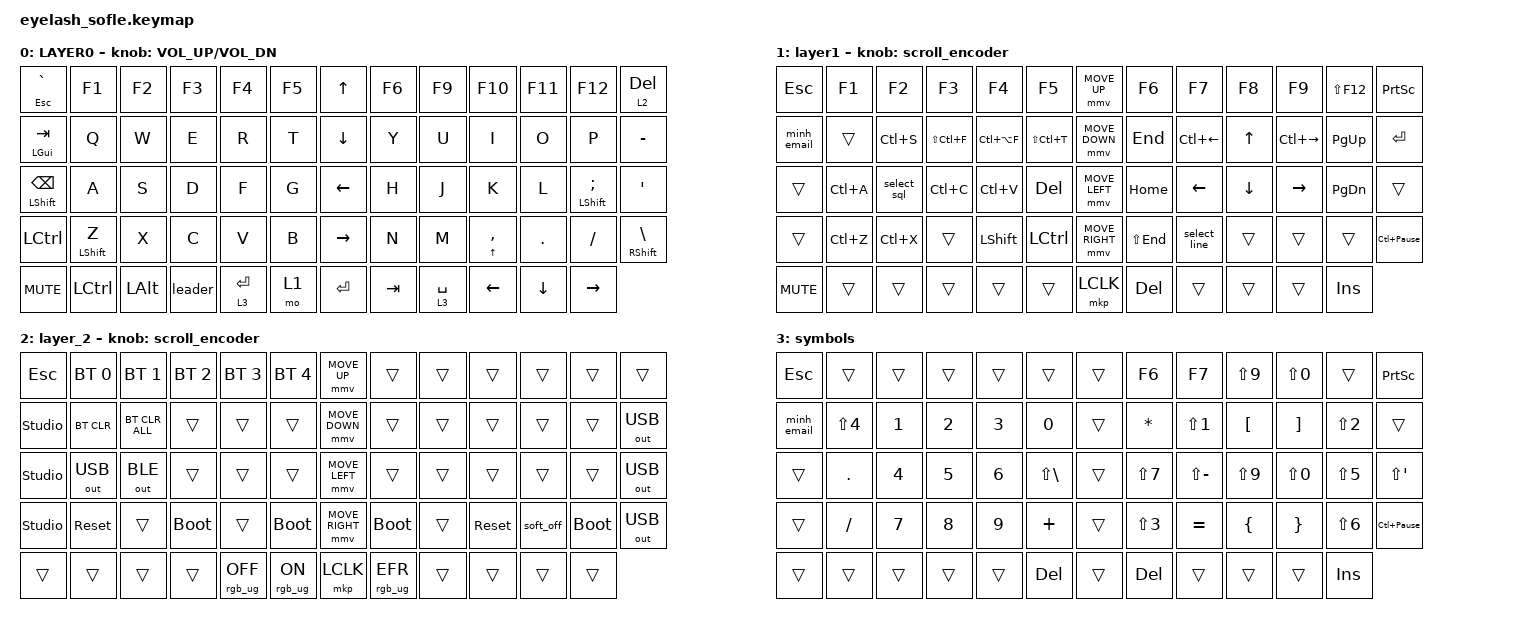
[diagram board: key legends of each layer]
#define ZMK_POINTING_DEFAULT_MOVE_VAL 1200  // 600
#define ZMK_POINTING_DEFAULT_SCRL_VAL 25   // 10

#include <input/processors.dtsi>
#include <zephyr/dt-bindings/input/input-event-codes.h>
#include <behaviors.dtsi>
#include <dt-bindings/zmk/bt.h>
#include <dt-bindings/zmk/ext_power.h>
#include <dt-bindings/zmk/keys.h>
#include <dt-bindings/zmk/pointing.h>
#include <dt-bindings/zmk/rgb.h>
#include <dt-bindings/zmk/outputs.h>
#include "leader.dtsi"
#include "helpers.h"

// &lt {
//     flavor = "hold-preferred";
// };

&mt {
    quick-tap-ms = <245>;
};

/ {
    shortcuts { 

        MACRO(select_line, &macro_tap &kp HOME &kp LS(END))
    
        myThTap: mod-tap-with-tap-preferred {
            compatible = "zmk,behavior-hold-tap";
            #binding-cells = <2>;
            tapping-term-ms = <TAPPING_TERM>;
            flavor = "tap-preferred";
            quick-tap-ms = <QUICK_TAP_TERM>;
            bindings = <&kp>, <&kp>;
        };

        myLtHold: layer-tap-with-hold-preferred {
            compatible = "zmk,behavior-hold-tap";
            #binding-cells = <2>;
            tapping-term-ms = <TAPPING_TERM>;
            flavor = "hold-preferred";
            quick-tap-ms = <QUICK_TAP_TERM>;
            bindings = <&mo>, <&kp>;
        };        
   };
};

&mmv_input_listener { input-processors = <&zip_xy_scaler 2 1>; };

&msc_input_listener { input-processors = <&zip_scroll_scaler 2 1>; };

&msc {
    acceleration-exponent = <1>;      // 0
    time-to-max-speed-ms = <100>;       // 300
    delay-ms = <0>;                   // 0
};

&mmv {
    time-to-max-speed-ms = <500>;
    acceleration-exponent = <1>;
    trigger-period-ms = <16>;
};

/ {
    combos {
        compatible = "zmk,combos";
        combo_copy {
            timeout-ms = <50>;
            key-positions = <28 29>; // S and D
            bindings = <&kp LC(C)>; // Sends Ctrl+S

        };
        combo_paste {
            timeout-ms = <50>;
            key-positions = <29 30>; // D and F
            bindings = <&kp LC(V)>; // Sends Ctrl+V
        };
        combo_undo {
            key-positions = <40 41>; // Z + X
            bindings = <&kp LC(Z)>;
        };

        combo_cut {
            key-positions = <41 42>; // X + C
            bindings = <&kp LC(X)>;
        };

        combo_save {
            key-positions = <42 43>; // C + V
            bindings = <&kp LC(S)>;
        };

        combo_select_all {
            key-positions = <14 15>; // Q + W
            bindings = <&kp LC(A)>;
        };

        combo_select_line {
            key-positions = <30 31>; // F + G
            bindings = <&select_line>;
        };

        combo_select_word {
            key-positions = <43 44>; // V + B
            bindings = <&select_word>;
        };

        combo_find2 {
            key-positions = <28 30>; // S + F
            bindings = <&kp LC(F)>;
            layers = <0>;
        };

        combo_delete_toEnd {
            key-positions = <29 31>; // D + G
            bindings = <&macro_deleteToEnd>;
            layers = <0>;
        };
        combo_replace {
            key-positions = <33 34>; // J + H
            bindings = <&kp LC(H)>;
            layers = <0>;
        };

        combo_find {
            key-positions = <34 35>; // J + K
            bindings = <&kp LC(F)>;
            layers = <0>;
        };

        combo_switch_tab {
            key-positions = <34 36>; // J + L
            bindings = <&kp LC(TAB)>;
            layers = <0>;
        };

        combo_ctrl_shift_space {
            key-positions = <35 36>; // K + L
            bindings = <&kp LC(LS(SPACE))>;
            layers = <0>;
        };

        // combo_altTab {
        //     key-positions = <47 49>; // M + .
        //     bindings = <&kp LA(TAB)>;
        //     layers = <0>;
        // };

        combo_home {
            key-positions = <41 43>; // X + V
            bindings = <&kp HOME>;
            layers = <0>;
        };
        
        combo_arrow_right {
            key-positions = <47 49>; // M + .
            bindings = <&macro_arrow_right>;
            layers = <0>;
        };

        combo_arrow_left {
            key-positions = <47 48>; // M + ,
            bindings = <&macro_arrow_left>;
            layers = <0>;
        };

        // combo_window_1 {
        //     key-positions = <30 17>; // F + R
        //     bindings = <&kp LG(N1)>;
        //     layers = <0>;
        // };
        // combo_window_2 {
        //     key-positions = <31 18>; // G + T
        //     bindings = <&kp LG(N2)>;
        //     layers = <0>;
        // };
        // combo_window_3 {
        //     key-positions = <33 20>; // H + Y
        //     bindings = <&kp LG(N3)>;
        //     layers = <0>;
        // }; 
        // combo_window_4 {
        //     key-positions = <34 21>; // U + J 
        //     bindings = <&kp LG(N4)>;
        //     layers = <0>;
        // };                
    };
};

/ {
    macros {
        select_word: select_word {
            compatible = "zmk,behavior-macro";
            #binding-cells = <0>;
            wait-ms = <0>;
            tap-ms = <5>;
            bindings = <&kp LC(RIGHT_ARROW)>, <&kp LC(LS(LEFT_ARROW))>;
        };
        macro_deleteToEnd: macro_deleteToEnd {
            compatible = "zmk,behavior-macro";
            #binding-cells = <0>;
            wait-ms = <0>;
            tap-ms = <5>;
            bindings = <&kp LS(END)>, <&kp DELETE>;
        };
        minh_email: minh_email {
            compatible = "zmk,behavior-macro";
            #binding-cells = <0>;
            wait-ms = <5>;
            tap-ms = <5>;
            bindings = 
                <&kp M &kp I &kp N &kp H &kp N &kp G &kp U &kp Y &kp E &kp N>
                , <&kp AT>
                , <&kp S &kp I &kp M &kp P &kp O &kp L &kp O &kp G &kp Y>
                , <&kp DOT>
                , <&kp C &kp O &kp M>
                , <&kp DOT>
                , <&kp A &kp U>
            ;
        };
        select_sql: select_sql {
            compatible = "zmk,behavior-macro";
            #binding-cells = <0>;
            wait-ms = <0>;
            tap-ms = <5>;
            bindings = 
                <&kp LS(S) &kp E &kp L &kp E &kp C &kp T>
                , <&kp SPACE>
                , <&kp T &kp O &kp P>
                , <&kp SPACE>
                , <&kp N2 &kp N0 &kp N0>
                , <&kp SPACE>
                , <&kp STAR>
                , <&kp SPACE>
                , <&kp LS(F) &kp R &kp O &kp M>
                , <&kp SPACE>
            ;
        };  
        macro_arrow_right: macro_arrow_right {
            compatible = "zmk,behavior-macro";
            #binding-cells = <0>;
            wait-ms = <0>;
            tap-ms = <5>;            
            bindings = <&kp EQUAL>, <&kp LS(DOT) &kp SPACE>;
        };
        macro_arrow_left: macro_arrow_left {
            compatible = "zmk,behavior-macro";
            #binding-cells = <0>;
            wait-ms = <0>;
            tap-ms = <5>;            
            bindings = <&kp LS(COMMA)>, <&kp EQUAL &kp SPACE>;
        };
        macro_channelId: macro_channelId {
            compatible = "zmk,behavior-macro";
            #binding-cells = <0>;
            wait-ms = <0>;
            tap-ms = <1>;
            bindings = <&kp LS(C) &kp H &kp A &kp N &kp N &kp E &kp L &kp LS(I) &kp D &kp SPACE>;
        };
        macro_applicationId: macro_applicationId {
            compatible = "zmk,behavior-macro";
            #binding-cells = <0>;
            wait-ms = <0>;
            tap-ms = <1>;
            bindings = <&kp LS(A) &kp P &kp P &kp L &kp I &kp C &kp A &kp T &kp I &kp O &kp N>;
        };
        macro_TAMA5: macro_TAMA5 {
            compatible = "zmk,behavior-macro";
            #binding-cells = <0>;
            wait-ms = <0>;
            tap-ms = <1>;
            bindings = <&kp LBKT &kp LS(T) &kp LS(A) &kp LS(M) &kp LS(A) &kp N5 &kp MINUS &kp RBKT &kp LEFT_ARROW>;
        };
        macro_patch: macro_patch {
            compatible = "zmk,behavior-macro";
            #binding-cells = <0>;
            wait-ms = <0>;
            tap-ms = <1>;
            bindings = <&kp LBKT &kp P &kp A &kp T &kp C &kp H &kp RBKT>;
        };
        macro_minor: macro_minor {
            compatible = "zmk,behavior-macro";
            #binding-cells = <0>;
            wait-ms = <0>;
            tap-ms = <1>;
            bindings = <&kp LBKT &kp M &kp I &kp N &kp O &kp R &kp RBKT>;
        };
        macro_foreach: macro_foreach {
            compatible = "zmk,behavior-macro";
            #binding-cells = <0>;
            wait-ms = <0>;
            tap-ms = <1>;
            bindings =
                <&kp F &kp O &kp R &kp E &kp A &kp C &kp H>
                , <&kp SPACE>
                , <&kp LS(N9) &kp V &kp A &kp R &kp SPACE &kp R &kp E &kp C &kp O &kp R  &kp D>
                , <&kp SPACE &kp I &kp N &kp SPACE &kp O &kp B &kp J &kp S &kp LS(N0)>
                , <&kp SPACE>
                , <&kp LBRC &kp RBRC &kp LEFT_ARROW>
            ;
        };
        macro_if_block: macro_if_block {
            compatible = "zmk,behavior-macro";
            #binding-cells = <0>;
            wait-ms = <0>;
            tap-ms = <1>;
            bindings =
                <&kp I &kp F>
                , <&kp SPACE>
                , <&kp LS(N9) &kp LS(N0)>
                , <&kp SPACE>
                , <&kp LBRC>
                , <&kp ENTER>
                , <&kp ENTER>
                , <&kp RBRC &kp UP_ARROW &kp UP_ARROW &kp HOME &kp RIGHT_ARROW &kp RIGHT_ARROW &kp RIGHT_ARROW &kp RIGHT_ARROW>
            ;
        };        
        macro_nolock: macro_nolock {
            compatible = "zmk,behavior-macro";
            #binding-cells = <0>;
            wait-ms = <0>;
            tap-ms = <1>;
            bindings = <&kp LS(N9) &kp N &kp O &kp L &kp O &kp C &kp K &kp LS(N0) &kp SPACE>;
        };
        macro_string: macro_string {
            compatible = "zmk,behavior-macro";
            #binding-cells = <0>;
            wait-ms = <0>;
            tap-ms = <1>;
            bindings = <&kp S &kp T &kp R &kp I &kp N &kp G &kp SPACE>;
        };        
        macro_where: macro_where {
            compatible = "zmk,behavior-macro";
            #binding-cells = <0>;
            wait-ms = <0>;
            tap-ms = <1>;
            bindings = <&kp LS(W) &kp LS(H) &kp LS(E) &kp LS(R) &kp LS(E) &kp SPACE>;
        };
        macro_bugfix: macro_bugfix {
            compatible = "zmk,behavior-macro";
            #binding-cells = <0>;
            wait-ms = <0>;
            tap-ms = <1>;
            bindings = <&kp B &kp U &kp G &kp F &kp I &kp X>;
        };
        macro_public: macro_public {
            compatible = "zmk,behavior-macro";
            #binding-cells = <0>;
            wait-ms = <0>;
            tap-ms = <1>;
            bindings = <&kp P &kp U &kp B &kp L &kp I &kp C &kp SPACE>;
        };
        macro_private: macro_private {
            compatible = "zmk,behavior-macro";
            #binding-cells = <0>;
            wait-ms = <0>;
            tap-ms = <1>;
            bindings = <&kp P &kp R &kp I &kp V &kp A &kp T &kp E &kp SPACE>;
        };
        macro_feature: macro_feature {
            compatible = "zmk,behavior-macro";
            #binding-cells = <0>;
            wait-ms = <0>;
            tap-ms = <1>;
            bindings = <&kp F &kp E &kp A &kp T &kp U &kp R &kp E>;
        };
        macro_var: macro_var {
            compatible = "zmk,behavior-macro";
            #binding-cells = <0>;
            wait-ms = <0>;
            tap-ms = <1>;
            bindings = <&kp V &kp A &kp R &kp SPACE &kp SPACE &kp EQUAL &kp SPACE &kp SEMI &kp LEFT_ARROW &kp LEFT_ARROW &kp LEFT_ARROW &kp LEFT_ARROW>;
        };
        macro_phone: macro_phone {
            compatible = "zmk,behavior-macro";
            #binding-cells = <0>;
            wait-ms = <0>;
            tap-ms = <1>;
            bindings = <&kp N0 &kp N4 &kp N0 &kp N0 &kp N0 &kp N0 &kp N0 &kp N0 &kp N0 &kp N0>;
        };
    };

    scroll_encoder: scroll_encoder {
        compatible = "zmk,behavior-sensor-rotate";
        #sensor-binding-cells = <0>;
        bindings = <&msc SCRL_DOWN>, <&msc SCRL_UP>;
        tap-ms = <100>;
    };
    keymap {
        compatible = "zmk,keymap";

        layer0 {
            bindings = <
&mt ESC GRAVE           &kp F1     &kp F2        &kp F3        &kp F4  &kp F5       &kp UP_ARROW            &kp F6     &kp F9               &kp F10                     &kp F11         &kp F12     &lt 2 DELETE
&mt LEFT_GUI TAB        &kp Q      &kp W         &kp E         &kp R   &kp T        &kp DOWN_ARROW          &kp Y      &kp U                &kp I                       &kp O            &kp P       &kp MINUS
&mt LSHFT BSPC          &kp A      &kp S         &kp D         &kp F   &kp G        &kp LEFT_ARROW          &kp H      &kp J                &kp K                       &kp L            &mt LSHFT SEMI     &kp APOS
&kp LCTRL               &mt LSHFT Z      &kp X         &kp C         &kp V   &kp B        &kp RIGHT_ARROW         &kp N      &kp M          &myThTap UP_ARROW COMMA     &kp DOT          &kp FSLH    &mt RSHFT BSLH
&kp C_MUTE  &kp LCTRL  &kp LALT  &leader &myLtHold 3 ENTER   &mo 1              &kp ENTER               &kp TAB  &lt 3 SPACE  &kp LEFT_ARROW      &kp DOWN_ARROW              &kp RIGHT_ARROW
            >;

            sensor-bindings = <&inc_dec_kp C_VOLUME_UP C_VOL_DN>;
            display-name = "LAYER0";
        };

        layer_1 {
            bindings = <
&kp ESC     &kp F1           &kp F2          &kp F3           &kp F4           &kp F5             &mmv MOVE_UP     &kp F6           &kp F7           &kp F8      &kp F9     &kp LS(F12)           &kp PSCRN
&minh_email      &trans           &kp LC(S)       &kp LS(LC(F))    &kp LC(LA(F))    &kp LS(LC(T))      &mmv MOVE_DOWN   &kp END    &kp LC(LEFT_ARROW)          &kp UP_ARROW      &kp LC(RIGHT_ARROW)   &kp PG_UP             &kp ENTER
&trans      &kp LC(A)        &select_sql          &kp LC(C)        &kp LC(V)        &kp DELETE         &mmv MOVE_LEFT   &kp HOME        &kp LEFT_ARROW              &kp DOWN_ARROW    &kp RIGHT_ARROW       &kp PG_DN  &trans
&trans      &kp LC(Z)        &kp LC(X)       &trans           &kp LSHFT        &kp LCTRL          &mmv MOVE_RIGHT  &kp LS(END)     &select_line  &trans   &trans            &trans             &kp LC(PAUSE_BREAK)
&kp C_MUTE  &trans           &trans          &trans           &trans           &trans             &mkp LCLK        &kp DELETE           &trans           &trans      &trans     &kp INSERT
            >;

            display-name = "layer1";
            sensor-bindings = <&scroll_encoder>;
        };

        layer_2 {
            bindings = <
&kp ESC  &bt BT_SEL 0  &bt BT_SEL 1    &bt BT_SEL 2  &bt BT_SEL 3  &bt BT_SEL 4    &mmv MOVE_UP    &trans   &trans &trans   &trans    &trans      &trans
&studio_unlock      &bt BT_CLR    &bt BT_CLR_ALL  &trans        &trans        &trans          &mmv MOVE_DOWN   &trans  &trans  &trans    &trans      &trans    &out OUT_USB
&studio_unlock     &out OUT_USB  &out OUT_BLE    &trans        &trans        &trans          &mmv MOVE_LEFT   &trans  &trans  &trans      &trans     &trans    &out OUT_USB
&studio_unlock     &sys_reset    &trans          &bootloader   &trans        &bootloader          &mmv MOVE_RIGHT  &bootloader  &trans  &sys_reset  &soft_off  &bootloader  &out OUT_USB
&trans     &trans        &trans          &trans        &rgb_ug RGB_OFF        &rgb_ug RGB_ON          &mkp LCLK        &rgb_ug RGB_EFR  &trans  &trans      &trans     &trans
            >;

            sensor-bindings = <&scroll_encoder>;
        };

        layer_3 {
            bindings = <
&kp ESC    &trans     &trans     &trans     &trans     &trans                   &trans                          &kp F6            &kp F7             &kp LS(N9)         &kp LS(N0)          &trans            &kp PSCRN
&minh_email     &kp LS(N4)      &kp N1     &kp N2     &kp N3      &kp N0                &trans                        &kp STAR         &kp LS(N1)          &kp LBKT         &kp RBKT         &kp LS(N2)        &trans
&trans          &kp DOT         &kp N4     &kp N5     &kp N6      &kp LS(BSLH)          &trans                        &kp LS(N7)       &kp LS(MINUS)       &kp LS(N9)       &kp LS(N0)       &kp LS(N5)         &kp LS(SQT)
&trans          &kp FSLH        &kp N7     &kp N8     &kp N9      &kp PLUS              &trans                        &kp LS(N3)       &kp EQUAL           &kp LBRC         &kp RBRC         &kp LS(N6)         &kp LC(PAUSE_BREAK)
&trans          &trans          &trans     &trans     &trans     &kp DELETE             &trans                        &kp DELETE            &trans      &trans         &trans         &kp INSERT
            >;

            display-name = "symbols";
        };
    };
};


